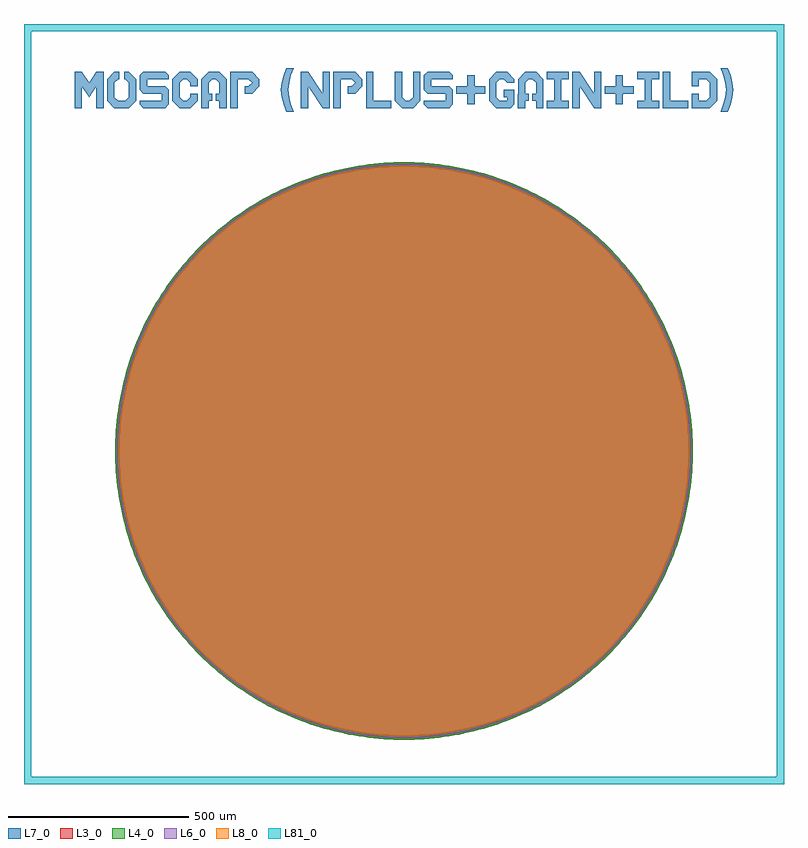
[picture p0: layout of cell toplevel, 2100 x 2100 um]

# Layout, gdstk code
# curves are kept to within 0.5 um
import gdstk
lib = gdstk.Library(unit=1e-6, precision=1e-09)
def P(c, l, *ps):  # polygons
    for p in ps: c.add(gdstk.Polygon(p, *l))
L3_0 = (3, 0)
L4_0 = (4, 0)
L6_0 = (6, 0)
L7_0 = (7, 0)
L8_0 = (8, 0)
L81_0 = (81, 0)

ellipse = lib.new_cell('ellipse')
P(ellipse, L3_0, [(797.885,0),(796.791,41.758),(793.514,83.402),(790.12,111.044),(783.225,152.244),(774.184,193.026),(763.021,233.279),(754.415,259.766),(739.786,298.893),(723.129,337.201),(704.49,374.584),(683.921,410.941),(669.162,434.559),(645.502,468.985),(620.073,502.125),(592.944,533.889),(564.19,564.19),(533.889,592.944),(502.125,620.073),(468.985,645.502),(434.559,669.162),(410.941,683.921),(374.584,704.49),(337.201,723.129),(298.893,739.786),(259.766,754.415),(233.279,763.021),(193.026,774.184),(152.244,783.225),(111.044,790.12),(83.402,793.514),(41.758,796.791),(0,797.885),(-41.758,796.791),(-83.402,793.514),(-111.044,790.12),(-152.244,783.225),(-193.026,774.184),(-233.279,763.021),(-259.766,754.415),(-298.893,739.786),(-337.201,723.129),(-374.584,704.49),(-410.941,683.921),(-434.559,669.162),(-468.985,645.502),(-502.125,620.073),(-533.889,592.944),(-564.19,564.19),(-592.944,533.889),(-620.073,502.125),(-645.502,468.985),(-669.162,434.559),(-683.921,410.941),(-704.49,374.584),(-723.129,337.201),(-739.786,298.893),(-754.415,259.766),(-763.021,233.279),(-774.184,193.026),(-783.225,152.244),(-790.12,111.044),(-793.514,83.402),(-796.791,41.758),(-797.885,0),(-796.791,-41.758),(-793.514,-83.402),(-790.12,-111.044),(-783.225,-152.244),(-774.184,-193.026),(-763.021,-233.279),(-754.415,-259.766),(-739.786,-298.893),(-723.129,-337.201),(-704.49,-374.584),(-683.921,-410.941),(-669.162,-434.559),(-645.502,-468.985),(-620.073,-502.125),(-592.944,-533.889),(-564.19,-564.19),(-533.889,-592.944),(-502.125,-620.073),(-468.985,-645.502),(-434.559,-669.162),(-410.941,-683.921),(-374.584,-704.49),(-337.201,-723.129),(-298.893,-739.786),(-259.766,-754.415),(-233.279,-763.021),(-193.026,-774.184),(-152.244,-783.225),(-111.044,-790.12),(-83.402,-793.514),(-41.758,-796.791),(0,-797.885),(41.758,-796.791),(83.402,-793.514),(111.044,-790.12),(152.244,-783.225),(193.026,-774.184),(233.279,-763.021),(259.766,-754.415),(298.893,-739.786),(337.201,-723.129),(374.584,-704.49),(410.941,-683.921),(434.559,-669.162),(468.985,-645.502),(502.125,-620.073),(533.889,-592.944),(564.19,-564.19),(592.944,-533.889),(620.073,-502.125),(645.502,-468.985),(669.162,-434.559),(683.921,-410.941),(704.49,-374.584),(723.129,-337.201),(739.786,-298.893),(754.415,-259.766),(763.021,-233.279),(774.184,-193.026),(783.225,-152.244),(790.12,-111.044),(793.514,-83.402),(796.791,-41.758)])

ellipse002 = lib.new_cell('ellipse002')
P(ellipse002, L4_0, [(797.885,0),(796.791,41.758),(793.514,83.402),(790.12,111.044),(783.225,152.244),(774.184,193.026),(763.021,233.279),(754.415,259.766),(739.786,298.893),(723.129,337.201),(704.49,374.584),(683.921,410.941),(669.162,434.559),(645.502,468.985),(620.073,502.125),(592.944,533.889),(564.19,564.19),(533.889,592.944),(502.125,620.073),(468.985,645.502),(434.559,669.162),(410.941,683.921),(374.584,704.49),(337.201,723.129),(298.893,739.786),(259.766,754.415),(233.279,763.021),(193.026,774.184),(152.244,783.225),(111.044,790.12),(83.402,793.514),(41.758,796.791),(0,797.885),(-41.758,796.791),(-83.402,793.514),(-111.044,790.12),(-152.244,783.225),(-193.026,774.184),(-233.279,763.021),(-259.766,754.415),(-298.893,739.786),(-337.201,723.129),(-374.584,704.49),(-410.941,683.921),(-434.559,669.162),(-468.985,645.502),(-502.125,620.073),(-533.889,592.944),(-564.19,564.19),(-592.944,533.889),(-620.073,502.125),(-645.502,468.985),(-669.162,434.559),(-683.921,410.941),(-704.49,374.584),(-723.129,337.201),(-739.786,298.893),(-754.415,259.766),(-763.021,233.279),(-774.184,193.026),(-783.225,152.244),(-790.12,111.044),(-793.514,83.402),(-796.791,41.758),(-797.885,0),(-796.791,-41.758),(-793.514,-83.402),(-790.12,-111.044),(-783.225,-152.244),(-774.184,-193.026),(-763.021,-233.279),(-754.415,-259.766),(-739.786,-298.893),(-723.129,-337.201),(-704.49,-374.584),(-683.921,-410.941),(-669.162,-434.559),(-645.502,-468.985),(-620.073,-502.125),(-592.944,-533.889),(-564.19,-564.19),(-533.889,-592.944),(-502.125,-620.073),(-468.985,-645.502),(-434.559,-669.162),(-410.941,-683.921),(-374.584,-704.49),(-337.201,-723.129),(-298.893,-739.786),(-259.766,-754.415),(-233.279,-763.021),(-193.026,-774.184),(-152.244,-783.225),(-111.044,-790.12),(-83.402,-793.514),(-41.758,-796.791),(0,-797.885),(41.758,-796.791),(83.402,-793.514),(111.044,-790.12),(152.244,-783.225),(193.026,-774.184),(233.279,-763.021),(259.766,-754.415),(298.893,-739.786),(337.201,-723.129),(374.584,-704.49),(410.941,-683.921),(434.559,-669.162),(468.985,-645.502),(502.125,-620.073),(533.889,-592.944),(564.19,-564.19),(592.944,-533.889),(620.073,-502.125),(645.502,-468.985),(669.162,-434.559),(683.921,-410.941),(704.49,-374.584),(723.129,-337.201),(739.786,-298.893),(754.415,-259.766),(763.021,-233.279),(774.184,-193.026),(783.225,-152.244),(790.12,-111.044),(793.514,-83.402),(796.791,-41.758)])

ellipse003 = lib.new_cell('ellipse003')
P(ellipse003, L7_0, [(797.885,0),(796.791,41.758),(793.514,83.402),(790.12,111.044),(783.225,152.244),(774.184,193.026),(763.021,233.279),(754.415,259.766),(739.786,298.893),(723.129,337.201),(704.49,374.584),(683.921,410.941),(669.162,434.559),(645.502,468.985),(620.073,502.125),(592.944,533.889),(564.19,564.19),(533.889,592.944),(502.125,620.073),(468.985,645.502),(434.559,669.162),(410.941,683.921),(374.584,704.49),(337.201,723.129),(298.893,739.786),(259.766,754.415),(233.279,763.021),(193.026,774.184),(152.244,783.225),(111.044,790.12),(83.402,793.514),(41.758,796.791),(0,797.885),(-41.758,796.791),(-83.402,793.514),(-111.044,790.12),(-152.244,783.225),(-193.026,774.184),(-233.279,763.021),(-259.766,754.415),(-298.893,739.786),(-337.201,723.129),(-374.584,704.49),(-410.941,683.921),(-434.559,669.162),(-468.985,645.502),(-502.125,620.073),(-533.889,592.944),(-564.19,564.19),(-592.944,533.889),(-620.073,502.125),(-645.502,468.985),(-669.162,434.559),(-683.921,410.941),(-704.49,374.584),(-723.129,337.201),(-739.786,298.893),(-754.415,259.766),(-763.021,233.279),(-774.184,193.026),(-783.225,152.244),(-790.12,111.044),(-793.514,83.402),(-796.791,41.758),(-797.885,0),(-796.791,-41.758),(-793.514,-83.402),(-790.12,-111.044),(-783.225,-152.244),(-774.184,-193.026),(-763.021,-233.279),(-754.415,-259.766),(-739.786,-298.893),(-723.129,-337.201),(-704.49,-374.584),(-683.921,-410.941),(-669.162,-434.559),(-645.502,-468.985),(-620.073,-502.125),(-592.944,-533.889),(-564.19,-564.19),(-533.889,-592.944),(-502.125,-620.073),(-468.985,-645.502),(-434.559,-669.162),(-410.941,-683.921),(-374.584,-704.49),(-337.201,-723.129),(-298.893,-739.786),(-259.766,-754.415),(-233.279,-763.021),(-193.026,-774.184),(-152.244,-783.225),(-111.044,-790.12),(-83.402,-793.514),(-41.758,-796.791),(0,-797.885),(41.758,-796.791),(83.402,-793.514),(111.044,-790.12),(152.244,-783.225),(193.026,-774.184),(233.279,-763.021),(259.766,-754.415),(298.893,-739.786),(337.201,-723.129),(374.584,-704.49),(410.941,-683.921),(434.559,-669.162),(468.985,-645.502),(502.125,-620.073),(533.889,-592.944),(564.19,-564.19),(592.944,-533.889),(620.073,-502.125),(645.502,-468.985),(669.162,-434.559),(683.921,-410.941),(704.49,-374.584),(723.129,-337.201),(739.786,-298.893),(754.415,-259.766),(763.021,-233.279),(774.184,-193.026),(783.225,-152.244),(790.12,-111.044),(793.514,-83.402),(796.791,-41.758)])

ellipse004 = lib.new_cell('ellipse004')
P(ellipse004, L8_0, [(787.885,0),(787.405,27.497),(784.886,68.669),(780.217,109.652),(773.409,150.335),(764.481,190.607),(753.458,230.355),(740.369,269.472),(725.252,307.851),(708.146,345.386),(695.661,369.889),(675.349,405.791),(653.186,440.579),(629.233,474.161),(603.555,506.442),(585.512,527.198),(557.119,557.119),(527.198,585.512),(506.442,603.555),(474.161,629.233),(440.579,653.186),(405.791,675.349),(369.889,695.661),(345.386,708.146),(307.851,725.252),(269.472,740.369),(230.355,753.458),(190.607,764.481),(150.335,773.409),(109.652,780.217),(68.669,784.886),(27.497,787.405),(0,787.885),(-27.497,787.405),(-68.669,784.886),(-109.652,780.217),(-150.335,773.409),(-190.607,764.481),(-230.355,753.458),(-269.472,740.369),(-307.851,725.252),(-345.386,708.146),(-369.889,695.661),(-405.791,675.349),(-440.579,653.186),(-474.161,629.233),(-506.442,603.555),(-527.198,585.512),(-557.119,557.119),(-585.512,527.198),(-603.555,506.442),(-629.233,474.161),(-653.186,440.579),(-675.349,405.791),(-695.661,369.889),(-708.146,345.386),(-725.252,307.851),(-740.369,269.472),(-753.458,230.355),(-764.481,190.607),(-773.409,150.335),(-780.217,109.652),(-784.886,68.669),(-787.405,27.497),(-787.885,0),(-787.405,-27.497),(-784.886,-68.669),(-780.217,-109.652),(-773.409,-150.335),(-764.481,-190.607),(-753.458,-230.355),(-740.369,-269.472),(-725.252,-307.851),(-708.146,-345.386),(-695.661,-369.889),(-675.349,-405.791),(-653.186,-440.579),(-629.233,-474.161),(-603.555,-506.442),(-585.512,-527.198),(-557.119,-557.119),(-527.198,-585.512),(-506.442,-603.555),(-474.161,-629.233),(-440.579,-653.186),(-405.791,-675.349),(-369.889,-695.661),(-345.386,-708.146),(-307.851,-725.252),(-269.472,-740.369),(-230.355,-753.458),(-190.607,-764.481),(-150.335,-773.409),(-109.652,-780.217),(-68.669,-784.886),(-27.497,-787.405),(0,-787.885),(27.497,-787.405),(68.669,-784.886),(109.652,-780.217),(150.335,-773.409),(190.607,-764.481),(230.355,-753.458),(269.472,-740.369),(307.851,-725.252),(345.386,-708.146),(369.889,-695.661),(405.791,-675.349),(440.579,-653.186),(474.161,-629.233),(506.442,-603.555),(527.198,-585.512),(557.119,-557.119),(585.512,-527.198),(603.555,-506.442),(629.233,-474.161),(653.186,-440.579),(675.349,-405.791),(695.661,-369.889),(708.146,-345.386),(725.252,-307.851),(740.369,-269.472),(753.458,-230.355),(764.481,-190.607),(773.409,-150.335),(780.217,-109.652),(784.886,-68.669),(787.405,-27.497)])

ellipse005 = lib.new_cell('ellipse005')
P(ellipse005, L6_0, [(792.885,0),(791.798,41.496),(788.541,82.879),(783.123,124.034),(778.317,151.29),(769.333,191.816),(762.17,218.549),(749.687,258.138),(735.15,297.02),(718.597,335.087),(700.076,372.237),(679.635,408.366),(664.969,431.836),(641.457,466.046),(616.187,498.978),(589.228,530.543),(560.654,560.654),(530.543,589.228),(498.978,616.187),(466.046,641.457),(431.836,664.969),(408.366,679.635),(372.237,700.076),(335.087,718.597),(297.02,735.15),(258.138,749.687),(218.549,762.17),(191.816,769.333),(151.29,778.317),(124.034,783.123),(82.879,788.541),(41.496,791.798),(0,792.885),(-41.496,791.798),(-82.879,788.541),(-124.034,783.123),(-151.29,778.317),(-191.816,769.333),(-218.549,762.17),(-258.138,749.687),(-297.02,735.15),(-335.087,718.597),(-372.237,700.076),(-408.366,679.635),(-431.836,664.969),(-466.046,641.457),(-498.978,616.187),(-530.543,589.228),(-560.654,560.654),(-589.228,530.543),(-616.187,498.978),(-641.457,466.046),(-664.969,431.836),(-679.635,408.366),(-700.076,372.237),(-718.597,335.087),(-735.15,297.02),(-749.687,258.138),(-762.17,218.549),(-769.333,191.816),(-778.317,151.29),(-783.123,124.034),(-788.541,82.879),(-791.798,41.496),(-792.885,0),(-791.798,-41.496),(-788.541,-82.879),(-783.123,-124.034),(-778.317,-151.29),(-769.333,-191.816),(-762.17,-218.549),(-749.687,-258.138),(-735.15,-297.02),(-718.597,-335.087),(-700.076,-372.237),(-679.635,-408.366),(-664.969,-431.836),(-641.457,-466.046),(-616.187,-498.978),(-589.228,-530.543),(-560.654,-560.654),(-530.543,-589.228),(-498.978,-616.187),(-466.046,-641.457),(-431.836,-664.969),(-408.366,-679.635),(-372.237,-700.076),(-335.087,-718.597),(-297.02,-735.15),(-258.138,-749.687),(-218.549,-762.17),(-191.816,-769.333),(-151.29,-778.317),(-124.034,-783.123),(-82.879,-788.541),(-41.496,-791.798),(0,-792.885),(41.496,-791.798),(82.879,-788.541),(124.034,-783.123),(151.29,-778.317),(191.816,-769.333),(218.549,-762.17),(258.138,-749.687),(297.02,-735.15),(335.087,-718.597),(372.237,-700.076),(408.366,-679.635),(431.836,-664.969),(466.046,-641.457),(498.978,-616.187),(530.543,-589.228),(560.654,-560.654),(589.228,-530.543),(616.187,-498.978),(641.457,-466.046),(664.969,-431.836),(679.635,-408.366),(700.076,-372.237),(718.597,-335.087),(735.15,-297.02),(749.687,-258.138),(762.17,-218.549),(769.333,-191.816),(778.317,-151.29),(783.123,-124.034),(788.541,-82.879),(791.798,-41.496)])

c_pad = lib.new_cell('c-pad')
c_pad.add(gdstk.Reference(ellipse, (0,0)))
c_pad.add(gdstk.Reference(ellipse002, (0,0)))
c_pad.add(gdstk.Reference(ellipse003, (0,0)))
c_pad.add(gdstk.Reference(ellipse004, (0,0)))
c_pad.add(gdstk.Reference(ellipse005, (0,0)))

text = lib.new_cell('text')
P(text, L7_0, [(10,100),(30,100),(50,70),(70,100),(90,100),(90,0),(70,0),(70,60),(50,30),(30,60),(30,0),(10,0)],
  [(100,80),(120,100),(133,100),(133,80),(130,80),(120,70),(120,30),(130,20),(150,20),(160,30),(160,70),(150,80),(147,80),(147,100),(160,100),(180,80),(180,20),(160,0),(120,0),(100,20)],
  [(270,80),(210,80),(210,60),(260,60),(270,50),(270,10),(260,0),(200,0),(190,10),(190,20),(250,20),(250,40),(200,40),(190,50),(190,90),(200,100),(260,100),(270,90)],
  [(300,0),(280,20),(280,80),(300,100),(330,100),(350,80),(350,60),(330,60),(330,70),(320,80),(310,80),(300,70),(300,30),(310,20),(320,20),(330,30),(330,40),(350,40),(350,20),(330,0)],
  [(360,80),(380,100),(410.1,100),(430,80),(430,0),(410.1,0),(410.1,20),(400,20),(400,40),(410.1,40),(410.1,70),(400,80),(390,80),(380,70),(380,40),(390,40),(390,20),(380,20),(380,0),(359.9,0)],
  [(440,100),(500,100),(520,80),(520,60),(500,40),(480,40),(480,60),(490,60),(500,70),(490,80),(460,80),(460,0),(440,0)],
  [(580,50),(582.5,70),(587.5,90),(595,110),(615,110),(607.5,90),(602.5,70),(600,50),(602.5,30),(607.5,10),(615,-10),(595,-10),(587.5,10),(582.5,30)],
  [(635,100),(655,100),(695,40),(695,100),(715,100),(715,0),(695,0),(655,60),(655,0),(635,0),(635,100)],
  [(725,100),(785,100),(805,80),(805,60),(785,40),(765,40),(765,60),(775,60),(785,70),(775,80),(745,80),(745,0),(725,0)],
  [(815,100),(835,100),(835,20),(885,20),(885,0),(815,0),(815,100)],
  [(915,100),(915,30),(925,20),(935,20),(945,30),(945,100),(965,100),(965,20),(945,0),(915,0),(895,20),(895,100)],
  [(1055,80),(995,80),(995,60),(1045,60),(1055,50),(1055,10),(1045,0),(985,0),(975,10),(975,20),(1035,20),(1035,40),(985,40),(975,50),(975,90),(985,100),(1045,100),(1055,90)],
  [(1095,60),(1095,90),(1115,90),(1115,60),(1145,60),(1145,40),(1115,40),(1115,10),(1095,10),(1095,40),(1065,40),(1065,60),(1095,60)],
  [(1175,0),(1155,20),(1155,80),(1175,100),(1205,100),(1225,80),(1225,70),(1205,70),(1195,80),(1185,80),(1175,70),(1175,30),(1185,20),(1205,20),(1205,30),(1195,30),(1195,50),(1225,50),(1225,10),(1215,0)],
  [(1235,80),(1255,100),(1285.1,100),(1305,80),(1305,0),(1285.1,0),(1285.1,20),(1275,20),(1275,40),(1285.1,40),(1285.1,70),(1275,80),(1265,80),(1255,70),(1255,40),(1265,40),(1265,20),(1255,20),(1255,0),(1234.9,0)],
  [(1315,0),(1315,20),(1335,20),(1335,80),(1315,80),(1315,100),(1375,100),(1375,80),(1355,80),(1355,20),(1375,20),(1375,0),(1315,0)],
  [(1385,100),(1405,100),(1445,40),(1445,100),(1465,100),(1465,0),(1445,0),(1405,60),(1405,0),(1385,0),(1385,100)],
  [(1505,60),(1505,90),(1525,90),(1525,60),(1555,60),(1555,40),(1525,40),(1525,10),(1505,10),(1505,40),(1475,40),(1475,60),(1505,60)],
  [(1565,0),(1565,20),(1585,20),(1585,80),(1565,80),(1565,100),(1625,100),(1625,80),(1605,80),(1605,20),(1625,20),(1625,0),(1565,0)],
  [(1635,100),(1655,100),(1655,20),(1705,20),(1705,0),(1635,0),(1635,100)],
  [(1715,0),(1715,40),(1735,40),(1735,20),(1755,20),(1765,30),(1765,70),(1755,80),(1735,80),(1735,60),(1715,60),(1715,100),(1765,100),(1785,80),(1785,20),(1765,0)],
  [(1795,110),(1815,110),(1822.5,90),(1827.5,70),(1830,50),(1827.5,30),(1822.5,10),(1815,-10),(1795,-10),(1802.5,10),(1807.5,30),(1810,50),(1807.5,70),(1802.5,90)])

boolean = lib.new_cell('boolean')
P(boolean, L81_0, [(2100,2100),(0,2100),(0,20),(20,20),(20,2080),(2080,2080),(2080,20),(20,20),(0,20),(0,0),(2100,0)])

toplevel = lib.new_cell('toplevel')
toplevel.add(gdstk.Reference(c_pad, (0,-130)))
toplevel.add(gdstk.Reference(text, (-920,817.885)))
toplevel.add(gdstk.Reference(boolean, (-1050,-1050)))

lib.write_gds('toplevel.gds')
